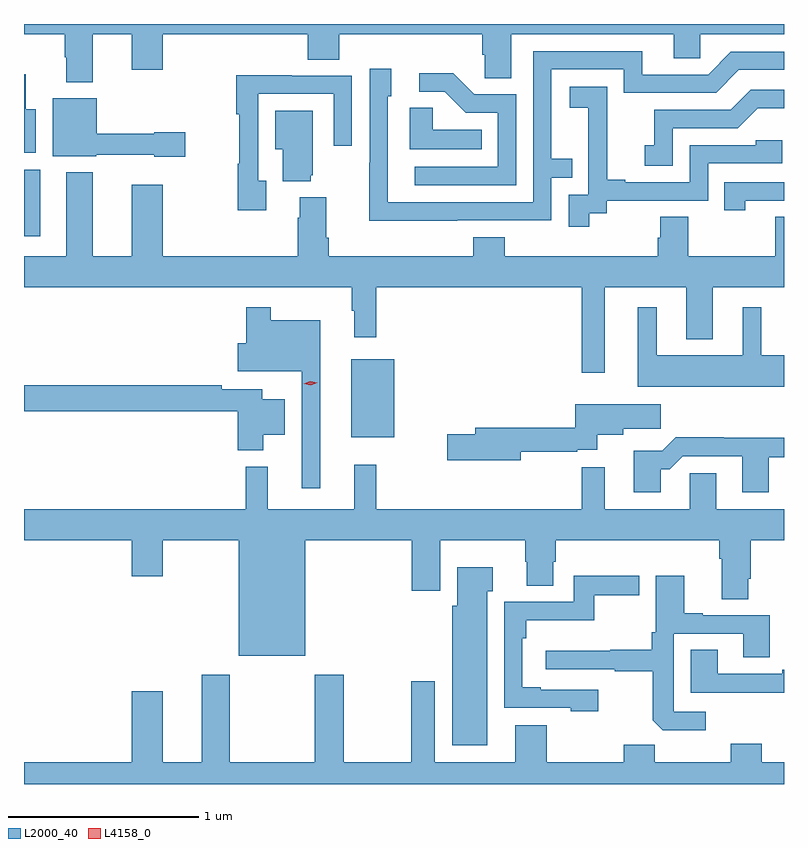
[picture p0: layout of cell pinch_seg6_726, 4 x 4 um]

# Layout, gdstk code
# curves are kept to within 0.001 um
import gdstk
lib = gdstk.Library(unit=1e-6, precision=1e-09)
def R(c, l, rs):  # rectangles x0, y0, x1, y1
    for r in rs: c.add(gdstk.rectangle(r[:2], r[2:], *l))
def P(c, l, *ps):  # polygons
    for p in ps: c.add(gdstk.Polygon(p, *l))
L2000_40 = (2000, 40)
L4158_0 = (4158, 0)

pinch_seg6_726 = lib.new_cell('pinch_seg6_726')
R(pinch_seg6_726, L2000_40, [(549.779,937.223,550.006,937.633), (548.057,938.28,548.143,938.632)])
P(pinch_seg6_726, L2000_40, [(549.716,939.344),(550.469,939.344),(550.469,939.235),(550.482,939.235),(550.482,939.112),(550.621,939.112),(550.621,939.344),(551.477,939.344),(551.477,939.217),(551.616,939.217),(551.616,939.344),(552.057,939.344),(552.057,939.398),(548.057,939.398),(548.057,939.344),(548.272,939.344),(548.272,939.224),(548.279,939.224),(548.279,939.092),(548.419,939.092),(548.419,939.344),(548.624,939.344),(548.624,939.156),(548.788,939.156),(548.788,939.344),(549.551,939.344),(549.551,939.211),(549.716,939.211)],
  [(550.337,938.364),(550.833,938.364),(550.833,938.589),(550.943,938.589),(550.943,938.69),(550.833,938.69),(550.833,939.159),(551.214,939.159),(551.214,939.036),(551.7,939.036),(551.82,939.156),(552.057,939.156),(552.057,939.252),(551.778,939.252),(551.658,939.132),(551.311,939.132),(551.311,939.255),(550.737,939.255),(550.737,938.46),(549.972,938.46),(549.972,939.018),(549.991,939.018),(549.991,939.163),(549.876,939.163),(549.876,938.669),(549.874,938.669),(549.874,938.363)],
  [(550.647,939.027),(550.428,939.027),(550.315,939.14),(550.137,939.14),(550.137,939.042),(550.271,939.042),(550.382,938.931),(550.551,938.931),(550.551,938.646),(550.113,938.646),(550.113,938.55),(550.647,938.55)],
  [(548.119,938.95),(548.065,938.95),(548.065,939.133),(548.057,939.133),(548.057,938.72),(548.119,938.72)],
  [(549.331,938.574),(549.291,938.574),(549.291,939.03),(549.687,939.03),(549.687,938.757),(549.783,938.757),(549.783,939.126),(549.467,939.126),(549.467,939.128),(549.175,939.128),(549.175,938.923),(549.19,938.923),(549.19,938.662),(549.183,938.662),(549.183,938.418),(549.331,938.418)],
  [(551.032,938.401),(551.124,938.401),(551.124,938.469),(551.658,938.469),(551.658,938.664),(552.047,938.664),(552.047,938.787),(551.907,938.787),(551.907,938.76),(551.562,938.76),(551.562,938.565),(551.221,938.565),(551.221,938.578),(551.126,938.578),(551.126,938.861),(551.127,938.861),(551.127,939.067),(550.929,939.067),(550.929,938.957),(551.027,938.957),(551.027,938.729),(551.028,938.729),(551.028,938.499),(550.923,938.499),(550.923,938.331),(551.032,938.331)],
  [(551.472,938.85),(551.814,938.85),(551.918,938.954),(552.057,938.954),(552.057,939.051),(551.882,939.051),(551.777,938.946),(551.374,938.946),(551.374,938.761),(551.325,938.761),(551.325,938.652),(551.472,938.652)],
  [(548.905,938.829),(548.742,938.829),(548.742,938.821),(548.44,938.821),(548.44,939.007),(548.207,939.007),(548.207,938.702),(548.436,938.702),(548.436,938.711),(548.742,938.711),(548.742,938.699),(548.905,938.699)],
  [(550.466,938.842),(550.209,938.842),(550.209,938.957),(550.088,938.957),(550.088,938.738),(550.466,938.738)],
  [(549.566,938.601),(549.577,938.601),(549.577,938.941),(549.38,938.941),(549.38,938.738),(549.419,938.738),(549.419,938.57),(549.566,938.57)],
  [(551.113,938.012),(551.543,938.012),(551.543,937.739),(551.683,937.739),(551.683,938.012),(552.057,938.012),(552.057,938.384),(552.01,938.384),(552.01,938.176),(551.553,938.176),(551.553,938.384),(551.405,938.384),(551.405,938.274),(551.393,938.274),(551.393,938.176),(550.586,938.176),(550.586,938.275),(550.421,938.275),(550.421,938.176),(549.662,938.176),(549.662,938.272),(549.649,938.272),(549.649,938.485),(549.509,938.485),(549.509,938.378),(549.497,938.378),(549.497,938.176),(548.788,938.176),(548.788,938.551),(548.624,938.551),(548.624,938.176),(548.419,938.176),(548.419,938.617),(548.279,938.617),(548.279,938.176),(548.057,938.176),(548.057,938.012),(549.783,938.012),(549.783,937.889),(549.794,937.889),(549.794,937.749),(549.911,937.749),(549.911,938.012),(550.992,938.012),(550.992,937.563),(551.113,937.563)],
  [(551.854,938.469),(552.057,938.469),(552.057,938.565),(551.743,938.565),(551.743,938.418),(551.854,938.418)],
  [(552.057,937.654),(551.938,937.654),(551.938,937.906),(551.84,937.906),(551.84,937.654),(551.386,937.654),(551.386,937.906),(551.288,937.906),(551.288,937.49),(552.057,937.49)],
  [(549.616,937.84),(549.355,937.84),(549.355,937.906),(549.226,937.906),(549.226,937.719),(549.182,937.719),(549.182,937.571),(549.519,937.571),(549.519,936.954),(549.616,936.954)],
  [(549.316,937.235),(549.43,937.235),(549.43,937.423),(549.31,937.423),(549.31,937.476),(549.098,937.476),(549.098,937.496),(548.057,937.496),(548.057,937.36),(549.182,937.36),(549.182,937.154),(549.316,937.154)],
  [(550.672,937.146),(550.97,937.146),(550.97,937.158),(551.075,937.158),(551.075,937.235),(551.212,937.235),(551.212,937.267),(551.407,937.267),(551.407,937.396),(550.957,937.396),(550.957,937.274),(550.433,937.274),(550.433,937.238),(550.284,937.238),(550.284,937.103),(550.672,937.103)],
  [(551.407,937.055),(551.456,937.055),(551.523,937.122),(551.837,937.122),(551.837,936.933),(551.977,936.933),(551.977,937.119),(552.057,937.119),(552.057,937.22),(551.741,937.22),(551.741,937.223),(551.486,937.223),(551.416,937.153),(551.267,937.153),(551.267,936.933),(551.407,936.933)],
  [(549.538,936.68),(550.097,936.68),(550.097,936.414),(550.249,936.414),(550.249,936.68),(550.696,936.68),(550.696,936.567),(550.703,936.567),(550.703,936.442),(550.843,936.442),(550.843,936.567),(550.856,936.567),(550.856,936.68),(551.717,936.68),(551.717,936.584),(551.729,936.584),(551.729,936.37),(551.869,936.37),(551.869,936.478),(551.882,936.478),(551.882,936.68),(552.057,936.68),(552.057,936.844),(551.701,936.844),(551.701,937.034),(551.562,937.034),(551.562,936.844),(551.113,936.844),(551.113,937.066),(550.992,937.066),(550.992,936.844),(549.911,936.844),(549.911,937.078),(549.794,937.078),(549.794,936.844),(549.341,936.844),(549.341,937.069),(549.223,937.069),(549.223,936.844),(548.057,936.844),(548.057,936.68),(548.624,936.68),(548.624,936.492),(548.788,936.492),(548.788,936.68),(549.188,936.68),(549.188,936.074),(549.538,936.074)],
  [(550.495,936.413),(550.525,936.413),(550.525,936.538),(550.337,936.538),(550.337,936.336),(550.31,936.336),(550.31,935.603),(550.495,935.603)],
  [(551.08,935.895),(550.777,935.895),(550.777,935.908),(550.68,935.908),(550.68,936.164),(550.7,936.164),(550.7,936.26),(551.059,936.26),(551.059,936.391),(551.296,936.391),(551.296,936.494),(550.95,936.494),(550.95,936.357),(550.584,936.357),(550.584,935.799),(550.935,935.799),(550.935,935.78),(551.08,935.78)],
  [(551.644,935.778),(551.478,935.778),(551.478,936.189),(551.843,936.189),(551.843,936.064),(551.983,936.064),(551.983,936.285),(551.629,936.285),(551.629,936.298),(551.533,936.298),(551.533,936.493),(551.382,936.493),(551.382,936.196),(551.362,936.196),(551.362,936.104),(551.143,936.104),(551.143,936.1),(550.803,936.1),(550.803,936.003),(551.167,936.003),(551.167,935.991),(551.367,935.991),(551.367,935.733),(551.419,935.682),(551.644,935.682)],
  [(552.057,935.999),(552.047,935.999),(552.047,935.979),(551.707,935.979),(551.707,936.104),(551.567,936.104),(551.567,935.878),(552.057,935.878)],
  [(552.057,935.512),(551.941,935.512),(551.941,935.611),(551.777,935.611),(551.777,935.512),(551.377,935.512),(551.377,935.605),(551.213,935.605),(551.213,935.512),(550.807,935.512),(550.807,935.707),(550.643,935.707),(550.643,935.512),(550.219,935.512),(550.219,935.938),(550.096,935.938),(550.096,935.512),(549.741,935.512),(549.741,935.974),(549.586,935.974),(549.586,935.512),(549.141,935.512),(549.141,935.974),(548.993,935.974),(548.993,935.512),(548.788,935.512),(548.788,935.887),(548.624,935.887),(548.624,935.512),(548.057,935.512),(548.057,935.398),(552.057,935.398)])
P(pinch_seg6_726, L4158_0, [(549.566,937.498),(549.529,937.505),(549.529,937.505),(549.529,937.505),(549.564,937.517),(549.6,937.51),(549.6,937.51),(549.6,937.51)])

lib.write_gds('pinch_seg6_726.gds')
